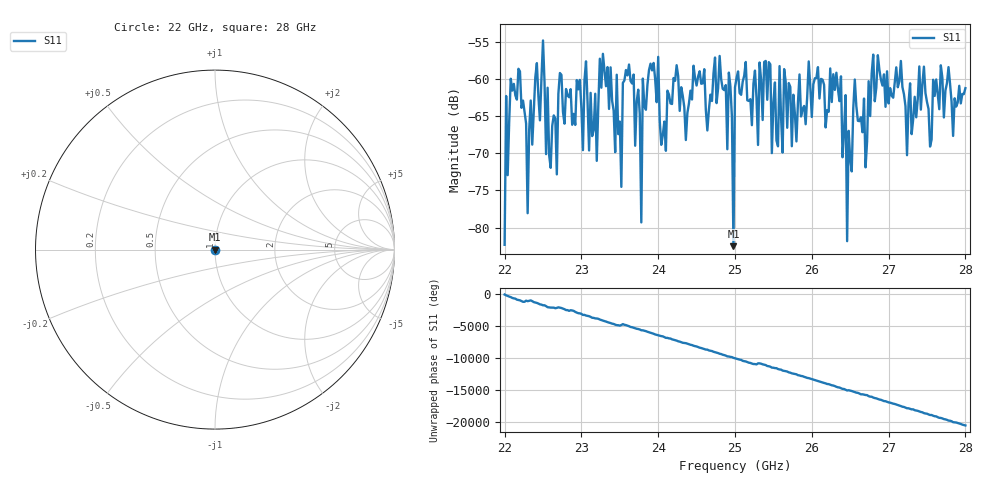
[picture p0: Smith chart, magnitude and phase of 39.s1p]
#  HZ  S  RI  R  50.00
! Rohde & Schwarz ZVA40 4Ports - Version 3.90 - 1145.1110k42 SN: 100403
! Date: 2023-10-04 11:30:43
! Measurement: S12
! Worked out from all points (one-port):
!   301 points, 22 GHz to 28 GHz, reference 50 ohm
!   lowest |S11| = -82.5 dB at 24.98 GHz (marker M1), VSWR 1.00, Z = 50 + j0.00589 ohm
!   |S11| at or under -10 dB: start of sweep to end of sweep
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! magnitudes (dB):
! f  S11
! 22 GHz  -82.3
! 22.02 GHz  -62.3
! 22.04 GHz  -72.9
! 22.08 GHz  -60.0
! 22.2 GHz  -59.0
! 22.3 GHz  -78.1
! 22.34 GHz  -62.9
! 22.5 GHz  -54.8
! 22.54 GHz  -70.1
! 22.76 GHz  -64.4
! 23.5 GHz  -65.7
! 23.74 GHz  -61.4
! 23.78 GHz  -79.3
! 23.8 GHz  -59.9
! 24.1 GHz  -69.7
! 24.26 GHz  -59.6
! 24.8 GHz  -56.9
! 24.9 GHz  -69.5
! 24.92 GHz  -59.1
! 24.98 GHz  -82.5
! 25 GHz  -61.1
! 25.76 GHz  -62.1
! 26.5 GHz  -70.7
! 26.56 GHz  -60.1
! 26.7 GHz  -71.9
! 26.8 GHz  -56.7
! 27.26 GHz  -63.2
! 28 GHz  -61.2
